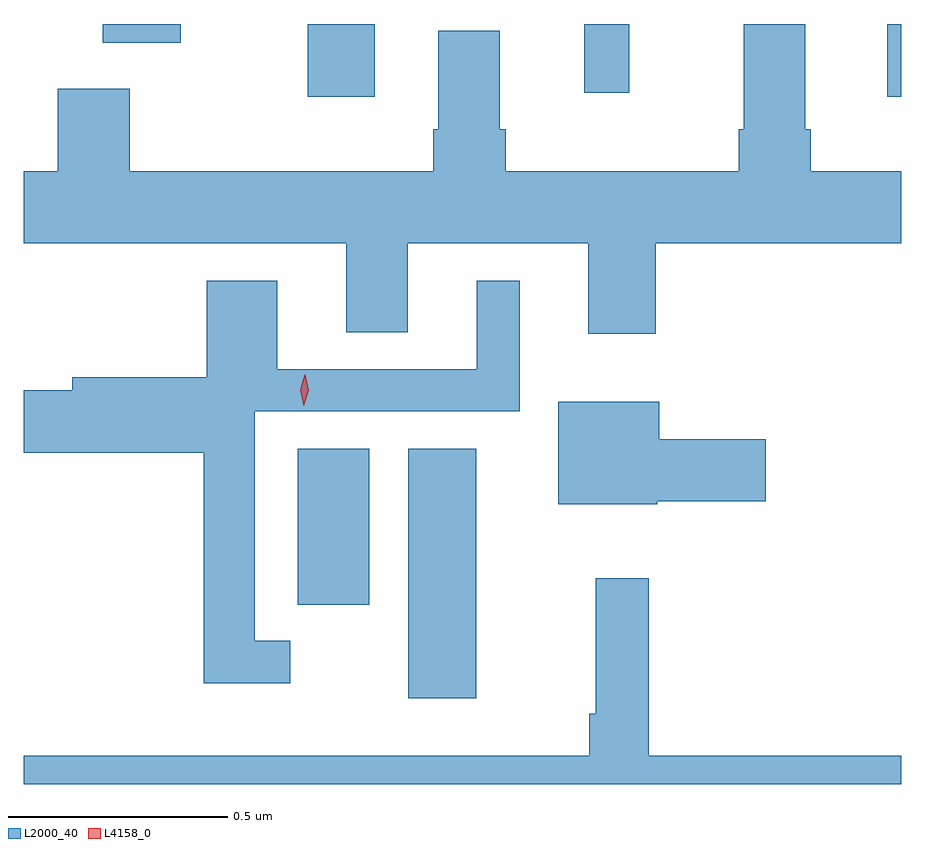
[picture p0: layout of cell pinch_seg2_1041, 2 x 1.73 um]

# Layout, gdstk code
import gdstk
lib = gdstk.Library(unit=1e-6, precision=1e-09)
def R(c, l, rs):  # rectangles x0, y0, x1, y1
    for r in rs: c.add(gdstk.rectangle(r[:2], r[2:], *l))
def P(c, l, *ps):  # polygons
    for p in ps: c.add(gdstk.Polygon(p, *l))
L2000_40 = (2000, 40)
L4158_0 = (4158, 0)

pinch_seg2_1041 = lib.new_cell('pinch_seg2_1041')
R(pinch_seg2_1041, L2000_40, [(369.602,583.995,369.757,584.564), (369.35,584.208,369.514,584.564), (369.373,585.366,369.526,585.532), (370.694,585.366,370.726,585.532), (370.004,585.375,370.106,585.532), (368.906,585.489,369.084,585.532)])
P(pinch_seg2_1041, L2000_40, [(370.166,585.032),(370.726,585.032),(370.726,585.196),(370.52,585.196),(370.52,585.292),(370.507,585.292),(370.507,585.532),(370.367,585.532),(370.367,585.292),(370.355,585.292),(370.355,585.196),(369.824,585.196),(369.824,585.292),(369.811,585.292),(369.811,585.517),(369.671,585.517),(369.671,585.292),(369.659,585.292),(369.659,585.196),(368.968,585.196),(368.968,585.385),(368.804,585.385),(368.804,585.196),(368.726,585.196),(368.726,585.032),(369.461,585.032),(369.461,584.83),(369.601,584.83),(369.601,585.032),(370.013,585.032),(370.013,584.826),(370.166,584.826)],
  [(369.334,584.127),(369.252,584.127),(369.252,584.649),(369.856,584.649),(369.856,584.947),(369.758,584.947),(369.758,584.745),(369.304,584.745),(369.304,584.947),(369.143,584.947),(369.143,584.727),(368.837,584.727),(368.837,584.697),(368.726,584.697),(368.726,584.555),(369.136,584.555),(369.136,584.03),(369.334,584.03)],
  [(370.17,584.444),(370.417,584.444),(370.417,584.586),(370.174,584.586),(370.174,584.671),(369.944,584.671),(369.944,584.438),(370.17,584.438)],
  [(370.726,583.864),(370.151,583.864),(370.151,584.269),(370.03,584.269),(370.03,583.96),(370.015,583.96),(370.015,583.864),(368.726,583.864),(368.726,583.8),(370.726,583.8)])
P(pinch_seg2_1041, L4158_0, [(369.364,584.662),(369.364,584.662),(369.356,584.698),(369.367,584.733),(369.368,584.733),(369.368,584.733),(369.376,584.697),(369.364,584.662)])

lib.write_gds('pinch_seg2_1041.gds')
